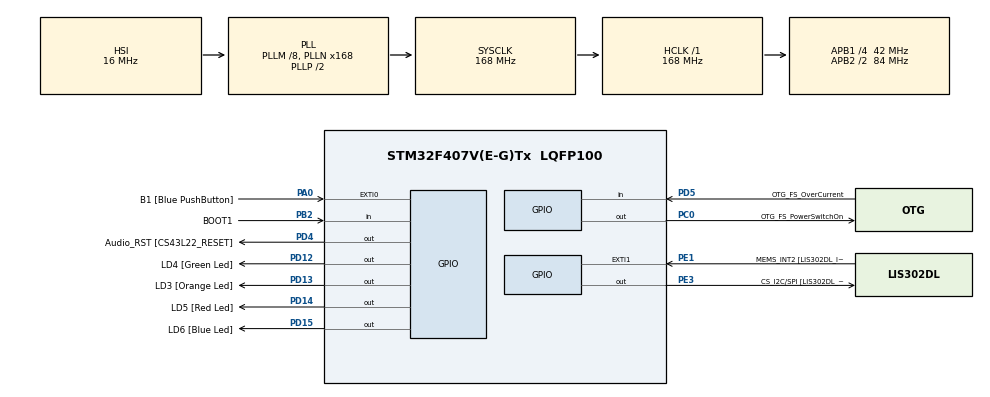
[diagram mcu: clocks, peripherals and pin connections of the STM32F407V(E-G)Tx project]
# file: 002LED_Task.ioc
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Mcu.Family=STM32F4
Mcu.Name=STM32F407V(E-G)Tx
Mcu.Package=LQFP100
NVIC.PriorityGroup=NVIC_PRIORITYGROUP_4
NVIC.TIM6_DAC_IRQn=true\:0\:0\:false\:false\:true\:false\:true\:true
NVIC.TimeBase=TIM6_DAC_IRQn
NVIC.TimeBaseIP=TIM6
PA0-WKUP.GPIO_Label=B1 [Blue PushButton]
PA0-WKUP.Signal=GPXTI0
PA10.GPIO_Label=OTG_FS_ID
PA10.GPIO_Mode=GPIO_MODE_AF_PP
PA10.GPIO_PuPd=GPIO_NOPULL
PA10.GPIO_Speed=GPIO_SPEED_FREQ_LOW
PA10.Signal=USB_OTG_FS_ID
PA11.GPIO_Label=OTG_FS_DM
PA11.GPIO_Mode=GPIO_MODE_AF_PP
PA11.GPIO_PuPd=GPIO_NOPULL
PA11.GPIO_Speed=GPIO_SPEED_FREQ_LOW
PA11.Signal=USB_OTG_FS_DM
PA12.GPIO_Label=OTG_FS_DP
PA12.GPIO_Mode=GPIO_MODE_AF_PP
PA12.GPIO_PuPd=GPIO_NOPULL
PA12.GPIO_Speed=GPIO_SPEED_FREQ_LOW
PA12.Signal=USB_OTG_FS_DP
PA13.GPIO_Label=SWDIO
PA13.Signal=SYS_JTMS-SWDIO
PA14.GPIO_Label=SWCLK
PA14.Signal=SYS_JTCK-SWCLK
PA4.GPIO_Label=I2S3_WS [CS43L22_LRCK]
PA4.GPIO_Mode=GPIO_MODE_AF_PP
PA4.GPIO_PuPd=GPIO_NOPULL
PA4.GPIO_Speed=GPIO_SPEED_FREQ_LOW
PA4.Signal=I2S3_WS
PA5.GPIO_Label=SPI1_SCK [LIS302DL_SCL/SPC]
PA5.GPIO_Mode=GPIO_MODE_AF_PP
PA5.GPIO_PuPd=GPIO_NOPULL
PA5.GPIO_Speed=GPIO_SPEED_FREQ_LOW
PA5.Signal=SPI1_SCK
PA6.GPIO_Label=SPI1_MISO [LIS302DL_SDO]
PA6.GPIO_Mode=GPIO_MODE_AF_PP
PA6.GPIO_PuPd=GPIO_NOPULL
PA6.GPIO_Speed=GPIO_SPEED_FREQ_LOW
PA6.Signal=SPI1_MISO
PA7.GPIO_Label=SPI1_MOSI [LIS302DL_SDA/SDI/SDO]
PA7.GPIO_Mode=GPIO_MODE_AF_PP
PA7.GPIO_PuPd=GPIO_NOPULL
PA7.GPIO_Speed=GPIO_SPEED_FREQ_LOW
PA7.Signal=SPI1_MOSI
PA9.GPIO_Label=VBUS_FS
PA9.GPIO_Mode=GPIO_MODE_INPUT
PA9.GPIO_PuPd=GPIO_NOPULL
PA9.Signal=USB_OTG_FS_VBUS
PB10.GPIO_Label=CLK_IN [MP45DT02_CLK]
PB10.GPIO_Mode=GPIO_MODE_AF_PP
PB10.GPIO_PuPd=GPIO_NOPULL
PB10.GPIO_Speed=GPIO_SPEED_FREQ_LOW
PB10.Signal=I2S2_CK
PB2.GPIO_Label=BOOT1
PB2.GPIO_Mode=GPIO_MODE_INPUT
PB2.GPIO_PuPd=GPIO_NOPULL
PB2.Signal=GPIO_Input
PB3.GPIO_Label=SWO
PB3.Signal=SYS_JTDO-SWO
PB6.GPIO_Label=Audio_SCL [CS43L22_SCL]
PB6.GPIO_Mode=GPIO_MODE_AF_OD
PB6.GPIO_PuPd=GPIO_NOPULL
PB6.GPIO_Speed=GPIO_SPEED_FREQ_LOW
PB6.Signal=I2C1_SCL
PB9.GPIO_Label=Audio_SDA [CS43L22_SDA]
PB9.GPIO_Mode=GPIO_MODE_AF_OD
PB9.GPIO_PuPd=GPIO_NOPULL
PB9.GPIO_Speed=GPIO_SPEED_FREQ_LOW
PB9.Signal=I2C1_SDA
PC0.GPIO_Label=OTG_FS_PowerSwitchOn
PC0.GPIO_PuPd=GPIO_NOPULL
PC0.GPIO_Speed=GPIO_SPEED_FREQ_LOW
PC0.PinState=GPIO_PIN_SET
PC0.Signal=GPIO_Output
PC10.GPIO_Label=I2S3_SCK [CS43L22_SCLK]
PC10.GPIO_Mode=GPIO_MODE_AF_PP
PC10.GPIO_PuPd=GPIO_NOPULL
PC10.GPIO_Speed=GPIO_SPEED_FREQ_LOW
PC10.Signal=I2S3_CK
PC12.GPIO_Label=I2S3_SD [CS43L22_SDIN]
PC12.GPIO_Mode=GPIO_MODE_AF_PP
PC12.GPIO_PuPd=GPIO_NOPULL
PC12.GPIO_Speed=GPIO_SPEED_FREQ_LOW
PC12.Signal=I2S3_SD
PC14-OSC32_IN.GPIO_Label=PC14-OSC32_IN
PC14-OSC32_IN.Signal=RCC_OSC32_IN
PC15-OSC32_OUT.GPIO_Label=PC15-OSC32_OUT
PC15-OSC32_OUT.Signal=RCC_OSC32_OUT
PC3.GPIO_Label=PDM_OUT [MP45DT02_DOUT]
PC3.GPIO_Mode=GPIO_MODE_AF_PP
PC3.GPIO_PuPd=GPIO_NOPULL
PC3.GPIO_Speed=GPIO_SPEED_FREQ_LOW
PC3.Signal=I2S2_SD
PC7.GPIO_Label=I2S3_MCK [CS43L22_MCLK]
PC7.GPIO_Mode=GPIO_MODE_AF_PP
PC7.GPIO_PuPd=GPIO_NOPULL
PC7.GPIO_Speed=GPIO_SPEED_FREQ_LOW
PC7.Signal=I2S3_MCK
PD12.GPIO_Label=LD4 [Green Led]
PD12.GPIO_PuPd=GPIO_NOPULL
PD12.GPIO_Speed=GPIO_SPEED_FREQ_LOW
PD12.Signal=GPIO_Output
PD13.GPIO_Label=LD3 [Orange Led]
PD13.GPIO_PuPd=GPIO_NOPULL
PD13.GPIO_Speed=GPIO_SPEED_FREQ_LOW
PD13.Signal=GPIO_Output
PD14.GPIO_Label=LD5 [Red Led]
PD14.GPIO_PuPd=GPIO_NOPULL
PD14.GPIO_Speed=GPIO_SPEED_FREQ_LOW
PD14.Signal=GPIO_Output
PD15.GPIO_Label=LD6 [Blue Led]
PD15.GPIO_PuPd=GPIO_NOPULL
PD15.GPIO_Speed=GPIO_SPEED_FREQ_LOW
PD15.Signal=GPIO_Output
PD4.GPIO_Label=Audio_RST [CS43L22_RESET]
PD4.GPIO_PuPd=GPIO_NOPULL
PD4.GPIO_Speed=GPIO_SPEED_FREQ_LOW
PD4.Signal=GPIO_Output
PD5.GPIO_Label=OTG_FS_OverCurrent
PD5.GPIO_Mode=GPIO_MODE_INPUT
PD5.GPIO_PuPd=GPIO_NOPULL
PD5.Signal=GPIO_Input
PE1.GPIO_Label=MEMS_INT2 [LIS302DL_INT2]
PE1.GPIO_ModeDefaultEXTI=GPIO_MODE_EVT_RISING
PE1.GPIO_PuPd=GPIO_NOPULL
PE1.Signal=GPXTI1
PE3.GPIO_Label=CS_I2C/SPI [LIS302DL_CS_I2C/SPI]
PE3.GPIO_PuPd=GPIO_NOPULL
PE3.GPIO_Speed=GPIO_SPEED_FREQ_LOW
PE3.Signal=GPIO_Output
PH0-OSC_IN.GPIO_Label=PH0-OSC_IN
PH0-OSC_IN.Signal=RCC_OSC_IN
PH1-OSC_OUT.GPIO_Label=PH1-OSC_OUT
PH1-OSC_OUT.Signal=RCC_OSC_OUT
ProjectManager.HeapSize=0x200
ProjectManager.StackSize=0x400
ProjectManager.TargetToolchain=STM32CubeIDE
RCC.48MHZClocksFreq_Value=48000000
RCC.AHBFreq_Value=168000000
RCC.APB1CLKDivider=RCC_HCLK_DIV4
RCC.APB1Freq_Value=42000000
RCC.APB1TimFreq_Value=84000000
RCC.APB2CLKDivider=RCC_HCLK_DIV2
RCC.APB2Freq_Value=84000000
RCC.APB2TimFreq_Value=168000000
RCC.CortexFreq_Value=168000000
RCC.HCLKFreq_Value=168000000
RCC.HSE_VALUE=8000000
RCC.HSI_VALUE=16000000
RCC.LSE_VALUE=32768
RCC.PLLM=8
RCC.PLLN=168
RCC.PLLQ=7
RCC.SYSCLKFreq_VALUE=168000000
RCC.SYSCLKSource=RCC_SYSCLKSOURCE_PLLCLK
RCC.VCOOutputFreq_Value=336000000
VP_SYS_VS_tim6.Mode=TIM6
board=STM32F407G-DISC1

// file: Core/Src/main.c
/* USER CODE BEGIN Header */
/**
  ******************************************************************************
  * @file           : main.c
  * @brief          : Main program body
  ******************************************************************************
  * @attention
  *
  * Copyright (c) 2023 STMicroelectronics.
  * All rights reserved.
  *
  * This software is licensed under terms that can be found in the LICENSE file
  * in the root directory of this software component.
  * If no LICENSE file comes with this software, it is provided AS-IS.
  *
  ******************************************************************************
  */
/* USER CODE END Header */
#include "main.h"

/* USER CODE BEGIN Includes */
#include <stdio.h>
#include "FreeRTOS.h"
#include "task.h"

/* USER CODE END Includes */

/* USER CODE BEGIN PV */

#define DWT_CTRL	(*(volatile uint32_t*)0xE0001000)

/* USER CODE END PV */

void SystemClock_Config(void);
static void MX_GPIO_Init(void);
/* USER CODE BEGIN PFP */

static void led_green_handler(void* parameters);
static void led_red_handler(void* parameters);
static void led_orange_handler(void* parameters);

extern void SEGGER_UART_init(uint32_t);

/* USER CODE END PFP */

int main(void)
{
  /* USER CODE BEGIN 1 */
	TaskHandle_t task1_handle;
	TaskHandle_t task2_handle;
	TaskHandle_t task3_handle;

	BaseType_t status = 0;
  /* USER CODE END 1 */

  /* MCU Configuration--------------------------------------------------------*/

  /* Reset of all peripherals, Initializes the Flash interface and the Systick. */
  HAL_Init();

  /* Configure the system clock */
  SystemClock_Config();

  /* Initialize all configured peripherals */
  MX_GPIO_Init();
  /* USER CODE BEGIN 2 */

  SEGGER_UART_init(500000);
  // Enable the CYCCNT counter
  DWT_CTRL |= (1 << 0);

  SEGGER_SYSVIEW_Conf();

  status = xTaskCreate(led_green_handler, "LED_green_task", 200, NULL, 2, &task1_handle);

  configASSERT(status == pdPASS);

  status = xTaskCreate(led_red_handler, "LED_red_task", 200, NULL, 2, &task2_handle);

  configASSERT(status == pdPASS);

  status = xTaskCreate(led_orange_handler, "LED_orange_task", 200, NULL, 2, &task3_handle);

  configASSERT(status == pdPASS);

  vTaskStartScheduler();
  /* USER CODE END 2 */

  /* Infinite loop */
  while (1)
  {

  }
}

void SystemClock_Config(void)
{
  RCC_OscInitTypeDef RCC_OscInitStruct = {0};
  RCC_ClkInitTypeDef RCC_ClkInitStruct = {0};

  /** Configure the main internal regulator output voltage
  */
  __HAL_RCC_PWR_CLK_ENABLE();
  __HAL_PWR_VOLTAGESCALING_CONFIG(PWR_REGULATOR_VOLTAGE_SCALE1);

  /** Initializes the RCC Oscillators according to the specified parameters
  * in the RCC_OscInitTypeDef structure.
  */
  RCC_OscInitStruct.OscillatorType = RCC_OSCILLATORTYPE_HSI;
  RCC_OscInitStruct.HSIState = RCC_HSI_ON;
  RCC_OscInitStruct.HSICalibrationValue = RCC_HSICALIBRATION_DEFAULT;
  RCC_OscInitStruct.PLL.PLLState = RCC_PLL_ON;
  RCC_OscInitStruct.PLL.PLLSource = RCC_PLLSOURCE_HSI;
  RCC_OscInitStruct.PLL.PLLM = 8;
  RCC_OscInitStruct.PLL.PLLN = 168;
  RCC_OscInitStruct.PLL.PLLP = RCC_PLLP_DIV2;
  RCC_OscInitStruct.PLL.PLLQ = 7;
  if (HAL_RCC_OscConfig(&RCC_OscInitStruct) != HAL_OK)
  {
    Error_Handler();
  }

  /** Initializes the CPU, AHB and APB buses clocks
  */
  RCC_ClkInitStruct.ClockType = RCC_CLOCKTYPE_HCLK|RCC_CLOCKTYPE_SYSCLK
                              |RCC_CLOCKTYPE_PCLK1|RCC_CLOCKTYPE_PCLK2;
  RCC_ClkInitStruct.SYSCLKSource = RCC_SYSCLKSOURCE_PLLCLK;
  RCC_ClkInitStruct.AHBCLKDivider = RCC_SYSCLK_DIV1;
  RCC_ClkInitStruct.APB1CLKDivider = RCC_HCLK_DIV4;
  RCC_ClkInitStruct.APB2CLKDivider = RCC_HCLK_DIV2;

  if (HAL_RCC_ClockConfig(&RCC_ClkInitStruct, FLASH_LATENCY_5) != HAL_OK)
  {
    Error_Handler();
  }
}

static void MX_GPIO_Init(void)
{
  GPIO_InitTypeDef GPIO_InitStruct = {0};

  /* GPIO Ports Clock Enable */
  __HAL_RCC_GPIOE_CLK_ENABLE();
  __HAL_RCC_GPIOC_CLK_ENABLE();
  __HAL_RCC_GPIOH_CLK_ENABLE();
  __HAL_RCC_GPIOA_CLK_ENABLE();
  __HAL_RCC_GPIOB_CLK_ENABLE();
  __HAL_RCC_GPIOD_CLK_ENABLE();

  /*Configure GPIO pin Output Level */
  HAL_GPIO_WritePin(CS_I2C_SPI_GPIO_Port, CS_I2C_SPI_Pin, GPIO_PIN_RESET);

  /*Configure GPIO pin Output Level */
  HAL_GPIO_WritePin(OTG_FS_PowerSwitchOn_GPIO_Port, OTG_FS_PowerSwitchOn_Pin, GPIO_PIN_SET);

  /*Configure GPIO pin Output Level */
  HAL_GPIO_WritePin(GPIOD, LD4_Pin|LD3_Pin|LD5_Pin|LD6_Pin
                          |Audio_RST_Pin, GPIO_PIN_RESET);

  /*Configure GPIO pin : CS_I2C_SPI_Pin */
  GPIO_InitStruct.Pin = CS_I2C_SPI_Pin;
  GPIO_InitStruct.Mode = GPIO_MODE_OUTPUT_PP;
  GPIO_InitStruct.Pull = GPIO_NOPULL;
  GPIO_InitStruct.Speed = GPIO_SPEED_FREQ_LOW;
  HAL_GPIO_Init(CS_I2C_SPI_GPIO_Port, &GPIO_InitStruct);

  /*Configure GPIO pin : OTG_FS_PowerSwitchOn_Pin */
  GPIO_InitStruct.Pin = OTG_FS_PowerSwitchOn_Pin;
  GPIO_InitStruct.Mode = GPIO_MODE_OUTPUT_PP;
  GPIO_InitStruct.Pull = GPIO_NOPULL;
  GPIO_InitStruct.Speed = GPIO_SPEED_FREQ_LOW;
  HAL_GPIO_Init(OTG_FS_PowerSwitchOn_GPIO_Port, &GPIO_InitStruct);

  /*Configure GPIO pin : PDM_OUT_Pin */
  GPIO_InitStruct.Pin = PDM_OUT_Pin;
  GPIO_InitStruct.Mode = GPIO_MODE_AF_PP;
  GPIO_InitStruct.Pull = GPIO_NOPULL;
  GPIO_InitStruct.Speed = GPIO_SPEED_FREQ_LOW;
  GPIO_InitStruct.Alternate = GPIO_AF5_SPI2;
  HAL_GPIO_Init(PDM_OUT_GPIO_Port, &GPIO_InitStruct);

  /*Configure GPIO pin : B1_Pin */
  GPIO_InitStruct.Pin = B1_Pin;
  GPIO_InitStruct.Mode = GPIO_MODE_IT_RISING;
  GPIO_InitStruct.Pull = GPIO_NOPULL;
  HAL_GPIO_Init(B1_GPIO_Port, &GPIO_InitStruct);

  /*Configure GPIO pin : I2S3_WS_Pin */
  GPIO_InitStruct.Pin = I2S3_WS_Pin;
  GPIO_InitStruct.Mode = GPIO_MODE_AF_PP;
  GPIO_InitStruct.Pull = GPIO_NOPULL;
  GPIO_InitStruct.Speed = GPIO_SPEED_FREQ_LOW;
  GPIO_InitStruct.Alternate = GPIO_AF6_SPI3;
  HAL_GPIO_Init(I2S3_WS_GPIO_Port, &GPIO_InitStruct);

  /*Configure GPIO pins : SPI1_SCK_Pin SPI1_MISO_Pin SPI1_MOSI_Pin */
  GPIO_InitStruct.Pin = SPI1_SCK_Pin|SPI1_MISO_Pin|SPI1_MOSI_Pin;
  GPIO_InitStruct.Mode = GPIO_MODE_AF_PP;
  GPIO_InitStruct.Pull = GPIO_NOPULL;
  GPIO_InitStruct.Speed = GPIO_SPEED_FREQ_LOW;
  GPIO_InitStruct.Alternate = GPIO_AF5_SPI1;
  HAL_GPIO_Init(GPIOA, &GPIO_InitStruct);

  /*Configure GPIO pin : BOOT1_Pin */
  GPIO_InitStruct.Pin = BOOT1_Pin;
  GPIO_InitStruct.Mode = GPIO_MODE_INPUT;
  GPIO_InitStruct.Pull = GPIO_NOPULL;
  HAL_GPIO_Init(BOOT1_GPIO_Port, &GPIO_InitStruct);

  /*Configure GPIO pin : CLK_IN_Pin */
  GPIO_InitStruct.Pin = CLK_IN_Pin;
  GPIO_InitStruct.Mode = GPIO_MODE_AF_PP;
  GPIO_InitStruct.Pull = GPIO_NOPULL;
  GPIO_InitStruct.Speed = GPIO_SPEED_FREQ_LOW;
  GPIO_InitStruct.Alternate = GPIO_AF5_SPI2;
  HAL_GPIO_Init(CLK_IN_GPIO_Port, &GPIO_InitStruct);

  /*Configure GPIO pins : LD4_Pin LD3_Pin LD5_Pin LD6_Pin
                           Audio_RST_Pin */
  GPIO_InitStruct.Pin = LD4_Pin|LD3_Pin|LD5_Pin|LD6_Pin
                          |Audio_RST_Pin;
  GPIO_InitStruct.Mode = GPIO_MODE_OUTPUT_PP;
  GPIO_InitStruct.Pull = GPIO_NOPULL;
  GPIO_InitStruct.Speed = GPIO_SPEED_FREQ_LOW;
  HAL_GPIO_Init(GPIOD, &GPIO_InitStruct);

  /*Configure GPIO pins : I2S3_MCK_Pin I2S3_SCK_Pin I2S3_SD_Pin */
  GPIO_InitStruct.Pin = I2S3_MCK_Pin|I2S3_SCK_Pin|I2S3_SD_Pin;
  GPIO_InitStruct.Mode = GPIO_MODE_AF_PP;
  GPIO_InitStruct.Pull = GPIO_NOPULL;
  GPIO_InitStruct.Speed = GPIO_SPEED_FREQ_LOW;
  GPIO_InitStruct.Alternate = GPIO_AF6_SPI3;
  HAL_GPIO_Init(GPIOC, &GPIO_InitStruct);

  /*Configure GPIO pin : VBUS_FS_Pin */
  GPIO_InitStruct.Pin = VBUS_FS_Pin;
  GPIO_InitStruct.Mode = GPIO_MODE_INPUT;
  GPIO_InitStruct.Pull = GPIO_NOPULL;
  HAL_GPIO_Init(VBUS_FS_GPIO_Port, &GPIO_InitStruct);

  /*Configure GPIO pins : OTG_FS_ID_Pin OTG_FS_DM_Pin OTG_FS_DP_Pin */
  GPIO_InitStruct.Pin = OTG_FS_ID_Pin|OTG_FS_DM_Pin|OTG_FS_DP_Pin;
  GPIO_InitStruct.Mode = GPIO_MODE_AF_PP;
  GPIO_InitStruct.Pull = GPIO_NOPULL;
  GPIO_InitStruct.Speed = GPIO_SPEED_FREQ_LOW;
  GPIO_InitStruct.Alternate = GPIO_AF10_OTG_FS;
  HAL_GPIO_Init(GPIOA, &GPIO_InitStruct);

  /*Configure GPIO pin : OTG_FS_OverCurrent_Pin */
  GPIO_InitStruct.Pin = OTG_FS_OverCurrent_Pin;
  GPIO_InitStruct.Mode = GPIO_MODE_INPUT;
  GPIO_InitStruct.Pull = GPIO_NOPULL;
  HAL_GPIO_Init(OTG_FS_OverCurrent_GPIO_Port, &GPIO_InitStruct);

  /*Configure GPIO pins : Audio_SCL_Pin Audio_SDA_Pin */
  GPIO_InitStruct.Pin = Audio_SCL_Pin|Audio_SDA_Pin;
  GPIO_InitStruct.Mode = GPIO_MODE_AF_OD;
  GPIO_InitStruct.Pull = GPIO_NOPULL;
  GPIO_InitStruct.Speed = GPIO_SPEED_FREQ_LOW;
  GPIO_InitStruct.Alternate = GPIO_AF4_I2C1;
  HAL_GPIO_Init(GPIOB, &GPIO_InitStruct);

  /*Configure GPIO pin : MEMS_INT2_Pin */
  GPIO_InitStruct.Pin = MEMS_INT2_Pin;
  GPIO_InitStruct.Mode = GPIO_MODE_EVT_RISING;
  GPIO_InitStruct.Pull = GPIO_NOPULL;
  HAL_GPIO_Init(MEMS_INT2_GPIO_Port, &GPIO_InitStruct);

}

/* USER CODE BEGIN 4 */
static void led_green_handler (void* parameters)
{
	while(1)
	{
		SEGGER_SYSVIEW_PrintfTarget("Toggling green LED");
		HAL_GPIO_TogglePin(LD4_GPIO_Port, LD4_Pin);
		HAL_Delay(1000);
	}
}

static void led_red_handler(void* parameters)
{
	while(1)
	{
		SEGGER_SYSVIEW_PrintfTarget("Toggling red LED");
		HAL_GPIO_TogglePin(LD5_GPIO_Port, LD5_Pin);
		HAL_Delay(800);
	}
}

static void led_orange_handler(void* parameters)
{
	while(1)
	{
		SEGGER_SYSVIEW_PrintfTarget("Toggling orange LED");
		HAL_GPIO_TogglePin(LD3_GPIO_Port, LD3_Pin);
		HAL_Delay(400);
	}

}

/* USER CODE END 4 */

void HAL_TIM_PeriodElapsedCallback(TIM_HandleTypeDef *htim)
{
  if (htim->Instance == TIM6) {
    HAL_IncTick();
  }
}

void Error_Handler(void)
{
  __disable_irq();
  while (1)
  {
  }
}
